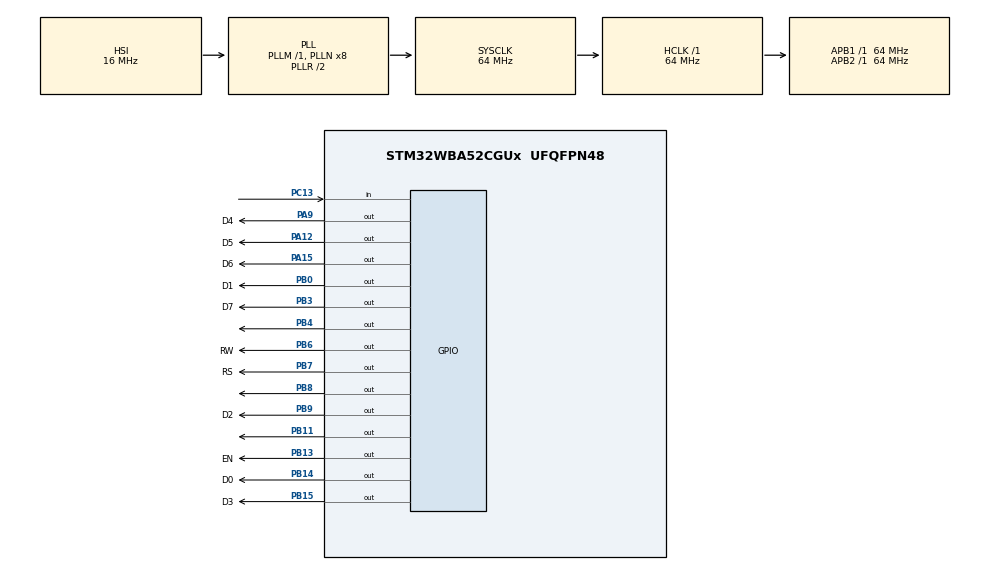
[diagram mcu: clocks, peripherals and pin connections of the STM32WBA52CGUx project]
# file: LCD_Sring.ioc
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CORTEX_M33_NS.userName=CORTEX_M33
Mcu.Family=STM32WBA
Mcu.Name=STM32WBA52CGUx
Mcu.Package=UFQFPN48
NUCLEO-WBA52CG.BUTTON=1
NUCLEO-WBA52CG.BUTTON2=1
NUCLEO-WBA52CG.BUTTON3=1
NUCLEO-WBA52CG.LD1=true
NUCLEO-WBA52CG.LD2=true
NUCLEO-WBA52CG.LD3=true
NUCLEO-WBA52CG.VCP=true
NVIC.EXTI13_IRQn=true\:0\:0\:false\:false\:true\:true\:true\:true
NVIC.EXTI6_IRQn=true\:0\:0\:false\:false\:true\:true\:true\:true
NVIC.EXTI7_IRQn=true\:0\:0\:false\:false\:true\:true\:true\:true
NVIC.PriorityGroup=NVIC_PRIORITYGROUP_4
OSC_IN.GPIO_Label=RCC_OSC_IN
OSC_IN.Mode=HSE-External-Oscillator
OSC_IN.Signal=RCC_OSC_IN
OSC_OUT.GPIO_Label=RCC_OSC_OUT
OSC_OUT.Mode=HSE-External-Oscillator
OSC_OUT.Signal=RCC_OSC_OUT
PA12.GPIO_Label=D5
PA12.Signal=GPIO_Output
PA13\ (JTMS/SWDIO).GPIO_Label=DEBUG_JTMS-SWDIO
PA13\ (JTMS/SWDIO).Signal=DEBUG_JTMS-SWDIO
PA14\ (JTCK/SWCLK).GPIO_Label=DEBUG_JTCK-SWCLK
PA14\ (JTCK/SWCLK).Signal=DEBUG_JTCK-SWCLK
PA15\ (JTDI).GPIO_Label=D6
PA15\ (JTDI).Signal=GPIO_Output
PA8.Signal=USART1_RX
PA9.GPIO_Label=D4
PA9.Signal=GPIO_Output
PB0.GPIO_Label=D1
PB0.Signal=GPIO_Output
PB11.Signal=GPIO_Output
PB12.Signal=USART1_TX
PB13.GPIO_Label=EN
PB13.Signal=GPIO_Output
PB14.GPIO_Label=D0
PB14.Signal=GPIO_Output
PB15.GPIO_Label=D3
PB15.Signal=GPIO_Output
PB3\ (JTDO/TRACESWO).GPIO_Label=D7
PB3\ (JTDO/TRACESWO).Signal=GPIO_Output
PB4\ (NJTRST).Signal=GPIO_Output
PB6.GPIO_Label=RW
PB6.Signal=GPIO_Output
PB7.GPIO_Label=RS
PB7.Signal=GPIO_Output
PB8.Signal=GPIO_Output
PB9.GPIO_Label=D2
PB9.Signal=GPIO_Output
PC13.Signal=GPIO_Input
PC14-OSC32_IN.GPIO_Label=RCC_OSC32_IN
PC14-OSC32_IN.Signal=RCC_OSC32_IN
PC15-OSC32_OUT.GPIO_Label=RCC_OSC32_OUT
PC15-OSC32_OUT.Signal=RCC_OSC32_OUT
ProjectManager.HeapSize=0x200
ProjectManager.StackSize=0x400
ProjectManager.TargetToolchain=STM32CubeIDE
RCC.ADCFreq_Value=64000000
RCC.AHB5CLKDivider=DIV2
RCC.AHBFreq_Value=64000000
RCC.APB1Freq_Value=64000000
RCC.APB1TimFreq_Value=64000000
RCC.APB2Freq_Value=64000000
RCC.APB2TimFreq_Value=64000000
RCC.CortexFreq_Value=8000000
RCC.FLatency=FLASH_LATENCY_1
RCC.HCLKFreq_Value=64000000
RCC.HSE_VALUE=32000000
RCC.HSI_VALUE=16000000
RCC.LSE_VALUE=32768
RCC.PLLFRACN=0
RCC.PLLN=8
RCC.SYSCLKFreq_VALUE=64000000
RCC.SYSCLKSourceVirtual=RCC_SYSCLKSOURCE_PLLCLK
RCC.VCOOutputFreq_Value=128000000
VP_CORTEX_M33_NS_VS_Hclk.Mode=Hclk_Mode
VP_ICACHE_VS_ICACHE.Mode=DirectMappedCache
VP_MEMORYMAP_VS_MEMORYMAP.Mode=CurAppReg
VP_NUCLEO-WBA52CG_VS_BSP_COMMON.Mode=COMMON
VP_PWR_VS_SECSignals.Mode=Security/Privilege
board=NUCLEO-WBA52CG

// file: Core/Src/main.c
/* USER CODE BEGIN Header */
/**
  ******************************************************************************
  * @file           : main.c
  * @brief          : Main program body
  ******************************************************************************
  * @attention
  *
  * Copyright (c) 2024 STMicroelectronics.
  * All rights reserved.
  *
  * This software is licensed under terms that can be found in the LICENSE file
  * in the root directory of this software component.
  * If no LICENSE file comes with this software, it is provided AS-IS.
  *
  ******************************************************************************
  */
/* USER CODE END Header */
#include "main.h"

/* USER CODE BEGIN Includes */
#include <LCD.h>
/* USER CODE END Includes */

COM_InitTypeDef BspCOMInit;

void SystemClock_Config(void);
static void MX_GPIO_Init(void);
static void MX_ICACHE_Init(void);

int main(void)
{

  /* USER CODE BEGIN 1 */
	char a[]={0x0E, 0x1B, 0x11, 0x11, 0x1F, 0x1F, 0x1F, 0x00};
    //int len=sizeof(a);
  /* USER CODE END 1 */
    int num=12345;
    char numchar[20];
  /* MCU Configuration--------------------------------------------------------*/

  /* Reset of all peripherals, Initializes the Flash interface and the Systick. */
  HAL_Init();

  /* Configure the system clock */
  SystemClock_Config();

  /* Initialize all configured peripherals */
  MX_GPIO_Init();
  MX_ICACHE_Init();
  /* USER CODE BEGIN 2 */
  LCD_init();
  //LCD_Print("goa");
  LCD_cmd(0x40 );
  for(int i=0; i<8; i++)
  	    {

  	  	  LCD_data(a[i]);

  	    }
  LCD_cmd(0x80);
  LCD_data(0);
  LCD_cmd(0xc0);
  LCD_Print("HYDRABAD");

  /* USER CODE END 2 */
  while (1)
    {

      /* USER CODE END WHILE */
     if(HAL_GPIO_ReadPin(GPIOC,GPIO_PIN_13) == 0)
     {
    	 HAL_Delay(250);
  	   num++;

     }
     sprintf(numchar, "%d",num);
       	   LCD_cmd(0x85);
       	   LCD_Print(numchar);
      /* USER CODE BEGIN 3 */
    }
  /* Initialize leds */
  BSP_LED_Init(LED_BLUE);
  BSP_LED_Init(LED_GREEN);
  BSP_LED_Init(LED_RED);

  /* Initialize USER push-button, will be used to trigger an interrupt each time it's pressed.*/
  BSP_PB_Init(B1, BUTTON_MODE_EXTI);
  BSP_PB_Init(B2, BUTTON_MODE_EXTI);
  BSP_PB_Init(B3, BUTTON_MODE_EXTI);

  /* Initialize COM1 port (115200, 8 bits (7-bit data + 1 stop bit), no parity */
  BspCOMInit.BaudRate   = 115200;
  BspCOMInit.WordLength = COM_WORDLENGTH_8B;
  BspCOMInit.StopBits   = COM_STOPBITS_1;
  BspCOMInit.Parity     = COM_PARITY_NONE;
  BspCOMInit.HwFlowCtl  = COM_HWCONTROL_NONE;
  if (BSP_COM_Init(COM1, &BspCOMInit) != BSP_ERROR_NONE)
  {
    Error_Handler();
  }

  /* Infinite loop */
  /* USER CODE BEGIN WHILE */

  /* USER CODE END 3 */
}

void SystemClock_Config(void)
{
  RCC_OscInitTypeDef RCC_OscInitStruct = {0};
  RCC_ClkInitTypeDef RCC_ClkInitStruct = {0};

  /** Configure the main internal regulator output voltage
  */
  if (HAL_PWREx_ControlVoltageScaling(PWR_REGULATOR_VOLTAGE_SCALE1) != HAL_OK)
  {
    Error_Handler();
  }

  /** Initializes the CPU, AHB and APB busses clocks
  */
  RCC_OscInitStruct.OscillatorType = RCC_OSCILLATORTYPE_HSI;
  RCC_OscInitStruct.HSIState = RCC_HSI_ON;
  RCC_OscInitStruct.HSICalibrationValue = RCC_HSICALIBRATION_DEFAULT;
  RCC_OscInitStruct.PLL1.PLLState = RCC_PLL_ON;
  RCC_OscInitStruct.PLL1.PLLSource = RCC_PLLSOURCE_HSI;
  RCC_OscInitStruct.PLL1.PLLM = 1;
  RCC_OscInitStruct.PLL1.PLLN = 8;
  RCC_OscInitStruct.PLL1.PLLP = 2;
  RCC_OscInitStruct.PLL1.PLLQ = 2;
  RCC_OscInitStruct.PLL1.PLLR = 2;
  RCC_OscInitStruct.PLL1.PLLFractional = 0;
  if (HAL_RCC_OscConfig(&RCC_OscInitStruct) != HAL_OK)
  {
    Error_Handler();
  }

  /** Initializes the CPU, AHB and APB busses clocks
  */
  RCC_ClkInitStruct.ClockType = RCC_CLOCKTYPE_HCLK|RCC_CLOCKTYPE_SYSCLK
                              |RCC_CLOCKTYPE_PCLK1|RCC_CLOCKTYPE_PCLK2
                              |RCC_CLOCKTYPE_PCLK7|RCC_CLOCKTYPE_HCLK5;
  RCC_ClkInitStruct.SYSCLKSource = RCC_SYSCLKSOURCE_PLLCLK;
  RCC_ClkInitStruct.AHBCLKDivider = RCC_SYSCLK_DIV1;
  RCC_ClkInitStruct.APB1CLKDivider = RCC_HCLK_DIV1;
  RCC_ClkInitStruct.APB2CLKDivider = RCC_HCLK_DIV1;
  RCC_ClkInitStruct.APB7CLKDivider = RCC_HCLK_DIV1;
  RCC_ClkInitStruct.AHB5_PLL1_CLKDivider = RCC_SYSCLK_PLL1_DIV2;
  RCC_ClkInitStruct.AHB5_HSEHSI_CLKDivider = RCC_SYSCLK_HSEHSI_DIV1;

  if (HAL_RCC_ClockConfig(&RCC_ClkInitStruct, FLASH_LATENCY_1) != HAL_OK)
  {
    Error_Handler();
  }
}

static void MX_ICACHE_Init(void)
{

  /** Enable instruction cache in 1-way (direct mapped cache)
  */
  if (HAL_ICACHE_ConfigAssociativityMode(ICACHE_1WAY) != HAL_OK)
  {
    Error_Handler();
  }
  if (HAL_ICACHE_Enable() != HAL_OK)
  {
    Error_Handler();
  }

}

static void MX_GPIO_Init(void)
{
  GPIO_InitTypeDef GPIO_InitStruct = {0};

  /* GPIO Ports Clock Enable */
  __HAL_RCC_GPIOB_CLK_ENABLE();
  __HAL_RCC_GPIOC_CLK_ENABLE();
  __HAL_RCC_GPIOA_CLK_ENABLE();

  /*Configure GPIO pin Output Level */
  HAL_GPIO_WritePin(GPIOB, D2_Pin|RS_Pin|RW_Pin|D7_Pin
                          |D1_Pin|D3_Pin|D0_Pin|EN_Pin, GPIO_PIN_RESET);

  /*Configure GPIO pin Output Level */
  HAL_GPIO_WritePin(GPIOA, D6_Pin|D5_Pin|D4_Pin, GPIO_PIN_RESET);

  /*Configure GPIO pins : D2_Pin RS_Pin RW_Pin D7_Pin
                           D1_Pin D3_Pin D0_Pin EN_Pin */
  GPIO_InitStruct.Pin = D2_Pin|RS_Pin|RW_Pin|D7_Pin
                          |D1_Pin|D3_Pin|D0_Pin|EN_Pin;
  GPIO_InitStruct.Mode = GPIO_MODE_OUTPUT_PP;
  GPIO_InitStruct.Pull = GPIO_NOPULL;
  GPIO_InitStruct.Speed = GPIO_SPEED_FREQ_LOW;
  HAL_GPIO_Init(GPIOB, &GPIO_InitStruct);

  /*Configure GPIO pin : PC13 */
  GPIO_InitStruct.Pin = GPIO_PIN_13;
  GPIO_InitStruct.Mode = GPIO_MODE_INPUT;
  GPIO_InitStruct.Pull = GPIO_NOPULL;
  HAL_GPIO_Init(GPIOC, &GPIO_InitStruct);

  /*Configure GPIO pins : D6_Pin D5_Pin D4_Pin */
  GPIO_InitStruct.Pin = D6_Pin|D5_Pin|D4_Pin;
  GPIO_InitStruct.Mode = GPIO_MODE_OUTPUT_PP;
  GPIO_InitStruct.Pull = GPIO_NOPULL;
  GPIO_InitStruct.Speed = GPIO_SPEED_FREQ_LOW;
  HAL_GPIO_Init(GPIOA, &GPIO_InitStruct);

}

void Error_Handler(void)
{
  __disable_irq();
  while (1)
  {
  }
}
